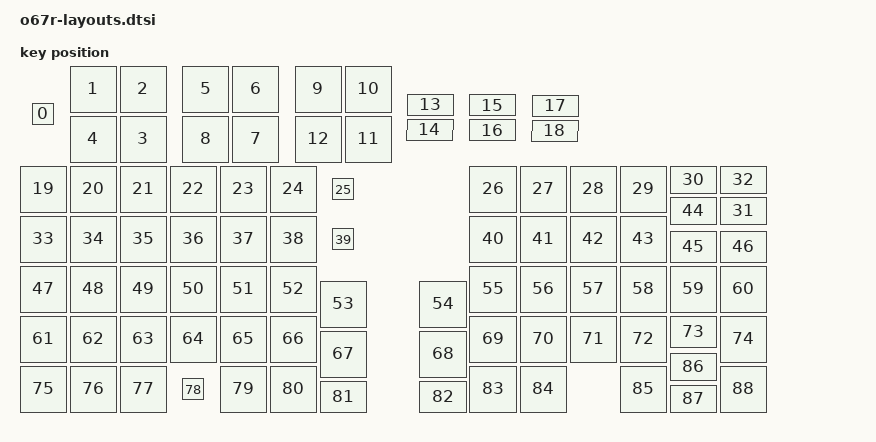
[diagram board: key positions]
// See https://zmk.dev/docs/development/hardware-integration/physical-layouts
// for how to configure this.

#include <physical_layouts.dtsi>

/ {
    default_layout: default_layout {
        compatible = "zmk,physical-layout";
        display-name = "Default Layout";
        transform = <&default_transform>;
        kscan = <&kscan>;

        // Edit this to define the positions and sizes of the keys, or remove it
        // if your keyboard will not support ZMK Studio.
        // https://zmk.dev/docs/development/hardware-integration/physical-layouts#optional-keys-property
        keys  //                     w   h    x     y     rot    rx    ry
            = <&key_physical_attrs  50  50   25    75       0     0     0>
            
            , <&key_physical_attrs 100 100  100     0       0     0     0>
            , <&key_physical_attrs 100 100  200     0       0     0     0>
            , <&key_physical_attrs 100 100  200   100       0     0     0>
            , <&key_physical_attrs 100 100  100   100       0     0     0>

            , <&key_physical_attrs 100 100  325     0       0     0     0>
            , <&key_physical_attrs 100 100  425     0       0     0     0>
            , <&key_physical_attrs 100 100  425   100       0     0     0>
            , <&key_physical_attrs 100 100  325   100       0     0     0>

            , <&key_physical_attrs 100 100  550     0       0     0     0>
            , <&key_physical_attrs 100 100  650     0       0     0     0>
            , <&key_physical_attrs 100 100  650   100       0     0     0>
            , <&key_physical_attrs 100 100  550   100       0     0     0>

            , <&key_physical_attrs 100  50  775    50      45     0     0>
            , <&key_physical_attrs 100  50  775   100      45     0     0>

            , <&key_physical_attrs 100  50  900    50      45     0     0>
            , <&key_physical_attrs 100  50  900   100      45     0     0>

            , <&key_physical_attrs 100  50 1025    50      45     0     0>
            , <&key_physical_attrs 100  50 1025   100      45     0     0>

            , <&key_physical_attrs 100 100    0   200       0     0     0>
            , <&key_physical_attrs 100 100  100   200       0     0     0>
            , <&key_physical_attrs 100 100  200   200       0     0     0>
            , <&key_physical_attrs 100 100  300   200       0     0     0>
            , <&key_physical_attrs 100 100  400   200       0     0     0>
            , <&key_physical_attrs 100 100  500   200       0     0     0>
            , <&key_physical_attrs  50  50  625   225       0     0     0>

            , <&key_physical_attrs 100 100  900   200       0     0     0>
            , <&key_physical_attrs 100 100 1000   200       0     0     0>
            , <&key_physical_attrs 100 100 1100   200       0     0     0>
            , <&key_physical_attrs 100 100 1200   200       0     0     0>
            , <&key_physical_attrs 100  62 1300   200       0     0     0>
            , <&key_physical_attrs 100  62 1400   263       0     0     0>
            , <&key_physical_attrs 100  62 1400   200       0     0     0>


            , <&key_physical_attrs 100 100    0   300       0     0     0>
            , <&key_physical_attrs 100 100  100   300       0     0     0>
            , <&key_physical_attrs 100 100  200   300       0     0     0>
            , <&key_physical_attrs 100 100  300   300       0     0     0>
            , <&key_physical_attrs 100 100  400   300       0     0     0>
            , <&key_physical_attrs 100 100  500   300       0     0     0>
            , <&key_physical_attrs  50  50  625   325       0     0     0>

            , <&key_physical_attrs 100 100  900   300       0     0     0>
            , <&key_physical_attrs 100 100 1000   300       0     0     0>
            , <&key_physical_attrs 100 100 1100   300       0     0     0>
            , <&key_physical_attrs 100 100 1200   300       0     0     0>
            , <&key_physical_attrs 100  62 1300   263       0     0     0>
            , <&key_physical_attrs 100  70 1300   330       0     0     0>
            , <&key_physical_attrs 100  70 1400   330       0     0     0>


            , <&key_physical_attrs 100 100    0   400       0     0     0>
            , <&key_physical_attrs 100 100  100   400       0     0     0>
            , <&key_physical_attrs 100 100  200   400       0     0     0>
            , <&key_physical_attrs 100 100  300   400       0     0     0>
            , <&key_physical_attrs 100 100  400   400       0     0     0>
            , <&key_physical_attrs 100 100  500   400       0     0     0>
            , <&key_physical_attrs 100 100  600   430       0     0     0>
            , <&key_physical_attrs 100 100  800   430       0     0     0>
            , <&key_physical_attrs 100 100  900   400       0     0     0>
            , <&key_physical_attrs 100 100 1000   400       0     0     0>
            , <&key_physical_attrs 100 100 1100   400       0     0     0>
            , <&key_physical_attrs 100 100 1200   400       0     0     0>
            , <&key_physical_attrs 100 100 1300   400       0     0     0>
            , <&key_physical_attrs 100 100 1400   400       0     0     0>


            , <&key_physical_attrs 100 100    0   500       0     0     0>
            , <&key_physical_attrs 100 100  100   500       0     0     0>
            , <&key_physical_attrs 100 100  200   500       0     0     0>
            , <&key_physical_attrs 100 100  300   500       0     0     0>
            , <&key_physical_attrs 100 100  400   500       0     0     0>
            , <&key_physical_attrs 100 100  500   500       0     0     0>
            , <&key_physical_attrs 100 100  600   530       0     0     0>
            , <&key_physical_attrs 100 100  800   530       0     0     0>
            , <&key_physical_attrs 100 100  900   500       0     0     0>
            , <&key_physical_attrs 100 100 1000   500       0     0     0>
            , <&key_physical_attrs 100 100 1100   500       0     0     0>
            , <&key_physical_attrs 100 100 1200   500       0     0     0>
            , <&key_physical_attrs 100  70 1300   500       0     0     0>
            , <&key_physical_attrs 100 100 1400   500       0     0     0>


            , <&key_physical_attrs 100 100    0   600       0     0     0>
            , <&key_physical_attrs 100 100  100   600       0     0     0>
            , <&key_physical_attrs 100 100  200   600       0     0     0>
            , <&key_physical_attrs  50  50  325   625       0     0     0>
            , <&key_physical_attrs 100 100  400   600       0     0     0>
            , <&key_physical_attrs 100 100  500   600       0     0     0>
            , <&key_physical_attrs 100  70  600   630       0     0     0>
            , <&key_physical_attrs 100  70  800   630       0     0     0>
            , <&key_physical_attrs 100 100  900   600       0     0     0>
            , <&key_physical_attrs 100 100 1000   600       0     0     0>
            , <&key_physical_attrs 100 100 1200   600       0     0     0>
            , <&key_physical_attrs 100  62 1300   575       0     0     0>
            , <&key_physical_attrs 100  62 1300   638       0     0     0>
            , <&key_physical_attrs 100 100 1400   600       0     0     0>
            ;
    };
};
